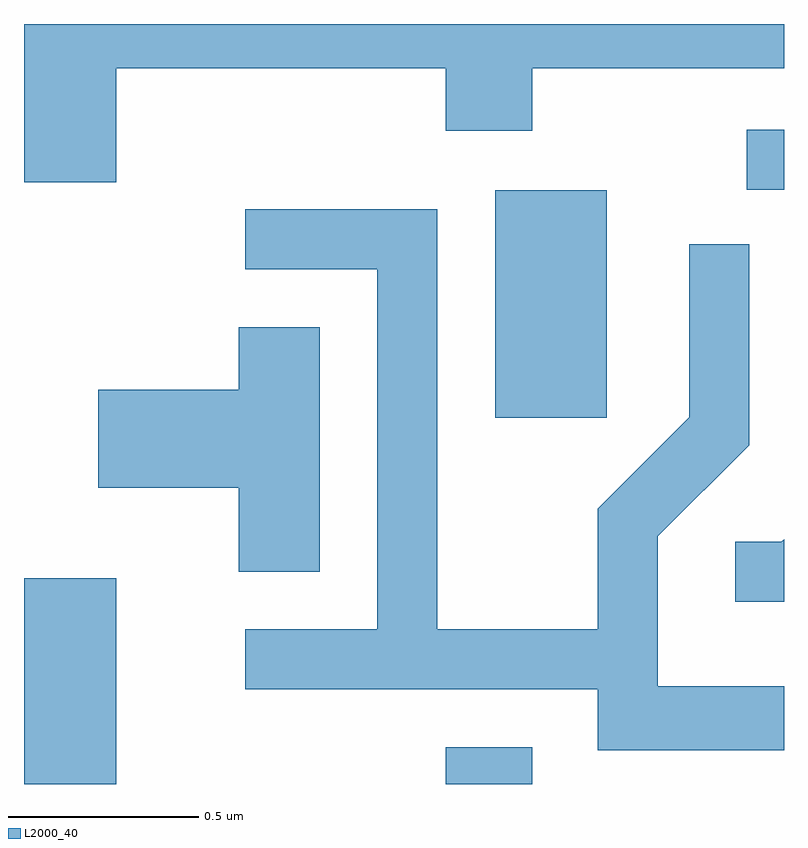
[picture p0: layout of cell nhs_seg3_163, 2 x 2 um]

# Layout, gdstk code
import gdstk
lib = gdstk.Library(unit=1e-6, precision=1e-09)
def R(c, l, rs):  # rectangles x0, y0, x1, y1
    for r in rs: c.add(gdstk.rectangle(r[:2], r[2:], *l))
def P(c, l, *ps):  # polygons
    for p in ps: c.add(gdstk.Polygon(p, *l))
L2000_40 = (2000, 40)

nhs_seg3_163 = lib.new_cell('nhs_seg3_163')
R(nhs_seg3_163, L2000_40, [(186.611,1141.892,186.854,1142.434), (187.721,1141.892,187.949,1141.989), (187.851,1142.856,188.144,1143.454), (188.513,1143.456,188.611,1143.614)])
P(nhs_seg3_163, L2000_40, [(186.854,1143.776),(187.721,1143.776),(187.721,1143.611),(187.949,1143.611),(187.949,1143.776),(188.611,1143.776),(188.611,1143.892),(186.611,1143.892),(186.611,1143.476),(186.854,1143.476)],
  [(188.611,1142.149),(188.279,1142.149),(188.279,1142.544),(188.519,1142.784),(188.519,1143.313),(188.361,1143.313),(188.361,1142.857),(188.121,1142.617),(188.121,1142.299),(187.699,1142.299),(187.699,1143.404),(187.193,1143.404),(187.193,1143.246),(187.541,1143.246),(187.541,1142.299),(187.193,1142.299),(187.193,1142.141),(188.121,1142.141),(188.121,1141.981),(188.611,1141.981)],
  [(187.389,1143.094),(187.176,1143.094),(187.176,1142.929),(186.806,1142.929),(186.806,1142.671),(187.176,1142.671),(187.176,1142.451),(187.389,1142.451)],
  [(188.611,1142.536),(188.604,1142.529),(188.483,1142.529),(188.483,1142.371),(188.611,1142.371)])

lib.write_gds('nhs_seg3_163.gds')
